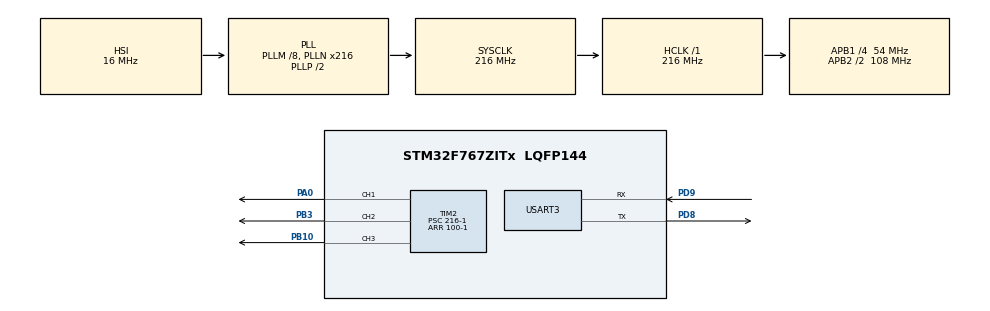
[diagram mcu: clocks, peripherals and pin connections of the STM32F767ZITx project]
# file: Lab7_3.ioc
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CORTEX_M7.default_mode_Activation=1
Mcu.Family=STM32F7
Mcu.Name=STM32F767ZITx
Mcu.Package=LQFP144
NVIC.PriorityGroup=NVIC_PRIORITYGROUP_4
PA0/WKUP.Signal=S_TIM2_CH1_ETR
PB10.Signal=S_TIM2_CH3
PB3.Signal=S_TIM2_CH2
PD8.Mode=Asynchronous
PD8.Signal=USART3_TX
PD9.Mode=Asynchronous
PD9.Signal=USART3_RX
ProjectManager.HeapSize=0x200
ProjectManager.StackSize=0x400
ProjectManager.TargetToolchain=STM32CubeIDE
RCC.AHBFreq_Value=216000000
RCC.APB1CLKDivider=RCC_HCLK_DIV4
RCC.APB1Freq_Value=54000000
RCC.APB1TimFreq_Value=108000000
RCC.APB2CLKDivider=RCC_HCLK_DIV2
RCC.APB2Freq_Value=108000000
RCC.APB2TimFreq_Value=216000000
RCC.CortexFreq_Value=216000000
RCC.HCLKFreq_Value=216000000
RCC.HSE_VALUE=25000000
RCC.HSI_VALUE=16000000
RCC.LSE_VALUE=32768
RCC.PLLM=8
RCC.PLLN=216
RCC.SYSCLKFreq_VALUE=216000000
RCC.SYSCLKSource=RCC_SYSCLKSOURCE_PLLCLK
RCC.USBFreq_Value=216000000
RCC.VCOOutputFreq_Value=432000000
SH.S_TIM2_CH1_ETR.0=TIM2_CH1,PWM Generation1 CH1
SH.S_TIM2_CH2.0=TIM2_CH2,PWM Generation2 CH2
SH.S_TIM2_CH3.0=TIM2_CH3,PWM Generation3 CH3
TIM2.AutoReloadPreload=TIM_AUTORELOAD_PRELOAD_DISABLE
TIM2.Channel-PWM\ Generation1\ CH1=TIM_CHANNEL_1
TIM2.Channel-PWM\ Generation2\ CH2=TIM_CHANNEL_2
TIM2.Channel-PWM\ Generation3\ CH3=TIM_CHANNEL_3
TIM2.Period=100-1
TIM2.Prescaler=216-1
USART3.VirtualMode-Asynchronous=VM_ASYNC
VP_TIM2_VS_ClockSourceINT.Mode=Internal
board=custom

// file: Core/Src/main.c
/* USER CODE BEGIN Header */
/**
  ******************************************************************************
  * @file           : main.c
  * @brief          : Main program body
  ******************************************************************************
  * @attention
  *
  * Copyright (c) 2026 STMicroelectronics.
  * All rights reserved.
  *
  * This software is licensed under terms that can be found in the LICENSE file
  * in the root directory of this software component.
  * If no LICENSE file comes with this software, it is provided AS-IS.
  *
  ******************************************************************************
  */
/* USER CODE END Header */
#include "main.h"

TIM_HandleTypeDef htim2;

UART_HandleTypeDef huart3;

/* USER CODE BEGIN PV */
uint8_t rx_data;       // เก็บค่าที่รับจาก UART
uint8_t duty_red = 0;  // เก็บค่า % (0-100)
uint8_t duty_green = 0;
uint8_t duty_blue = 0;
/* USER CODE END PV */

void SystemClock_Config(void);
static void MPU_Config(void);
static void MX_GPIO_Init(void);
static void MX_TIM2_Init(void);
static void MX_USART3_UART_Init(void);

int main(void)
{

  /* MPU Configuration--------------------------------------------------------*/
  MPU_Config();

  /* MCU Configuration--------------------------------------------------------*/

  /* Reset of all peripherals, Initializes the Flash interface and the Systick. */
  HAL_Init();

  /* Configure the system clock */
  SystemClock_Config();

  /* Initialize all configured peripherals */
  MX_GPIO_Init();
  MX_TIM2_Init();
  MX_USART3_UART_Init();
  /* USER CODE BEGIN 2 */

  // เริ่มต้นสัญญาณ PWM
  HAL_TIM_PWM_Start(&htim2, TIM_CHANNEL_1);
  HAL_TIM_PWM_Start(&htim2, TIM_CHANNEL_2);
  HAL_TIM_PWM_Start(&htim2, TIM_CHANNEL_3);

  // กำหนดค่าเริ่มต้นเป็น 0 (ดับ)
  htim2.Instance->CCR1 = 0;
  htim2.Instance->CCR2 = 0;
  htim2.Instance->CCR3 = 0;

  /* USER CODE END 2 */

  /* Infinite loop */
  while (1)
  {

    /* USER CODE BEGIN 3 */

    // รับค่า UART
    if (HAL_UART_Receive(&huart3, &rx_data, 1, 100) == HAL_OK)
    {
        // --- RED ---
        if (rx_data == 'r')
        {
            if (duty_red >= 100) duty_red = 0;
            else duty_red += 20;

            // ไม่ต้องคูณ 100 แล้ว เพราะ ARR = 100
            htim2.Instance->CCR1 = duty_red;
        }
        // --- GREEN ---
        else if (rx_data == 'g')
        {
            if (duty_green >= 100) duty_green = 0;
            else duty_green += 20;

            htim2.Instance->CCR2 = duty_green;
        }
        // --- BLUE ---
        else if (rx_data == 'b')
        {
            if (duty_blue >= 100) duty_blue = 0;
            else duty_blue += 20;

            htim2.Instance->CCR3 = duty_blue;
        }
    }
  }
  /* USER CODE END 3 */
}

void SystemClock_Config(void)
{
  RCC_OscInitTypeDef RCC_OscInitStruct = {0};
  RCC_ClkInitTypeDef RCC_ClkInitStruct = {0};

  /** Configure the main internal regulator output voltage
  */
  __HAL_RCC_PWR_CLK_ENABLE();
  __HAL_PWR_VOLTAGESCALING_CONFIG(PWR_REGULATOR_VOLTAGE_SCALE1);

  /** Initializes the RCC Oscillators according to the specified parameters
  * in the RCC_OscInitTypeDef structure.
  */
  RCC_OscInitStruct.OscillatorType = RCC_OSCILLATORTYPE_HSI;
  RCC_OscInitStruct.HSIState = RCC_HSI_ON;
  RCC_OscInitStruct.HSICalibrationValue = RCC_HSICALIBRATION_DEFAULT;
  RCC_OscInitStruct.PLL.PLLState = RCC_PLL_ON;
  RCC_OscInitStruct.PLL.PLLSource = RCC_PLLSOURCE_HSI;
  RCC_OscInitStruct.PLL.PLLM = 8;
  RCC_OscInitStruct.PLL.PLLN = 216;
  RCC_OscInitStruct.PLL.PLLP = RCC_PLLP_DIV2;
  RCC_OscInitStruct.PLL.PLLQ = 2;
  RCC_OscInitStruct.PLL.PLLR = 2;
  if (HAL_RCC_OscConfig(&RCC_OscInitStruct) != HAL_OK)
  {
    Error_Handler();
  }

  /** Activate the Over-Drive mode
  */
  if (HAL_PWREx_EnableOverDrive() != HAL_OK)
  {
    Error_Handler();
  }

  /** Initializes the CPU, AHB and APB buses clocks
  */
  RCC_ClkInitStruct.ClockType = RCC_CLOCKTYPE_HCLK|RCC_CLOCKTYPE_SYSCLK
                              |RCC_CLOCKTYPE_PCLK1|RCC_CLOCKTYPE_PCLK2;
  RCC_ClkInitStruct.SYSCLKSource = RCC_SYSCLKSOURCE_PLLCLK;
  RCC_ClkInitStruct.AHBCLKDivider = RCC_SYSCLK_DIV1;
  RCC_ClkInitStruct.APB1CLKDivider = RCC_HCLK_DIV4;
  RCC_ClkInitStruct.APB2CLKDivider = RCC_HCLK_DIV2;

  if (HAL_RCC_ClockConfig(&RCC_ClkInitStruct, FLASH_LATENCY_7) != HAL_OK)
  {
    Error_Handler();
  }
}

static void MX_TIM2_Init(void)
{

  TIM_ClockConfigTypeDef sClockSourceConfig = {0};
  TIM_MasterConfigTypeDef sMasterConfig = {0};
  TIM_OC_InitTypeDef sConfigOC = {0};

  htim2.Instance = TIM2;
  htim2.Init.Prescaler = 216-1;
  htim2.Init.CounterMode = TIM_COUNTERMODE_UP;
  htim2.Init.Period = 100-1;
  htim2.Init.ClockDivision = TIM_CLOCKDIVISION_DIV1;
  htim2.Init.AutoReloadPreload = TIM_AUTORELOAD_PRELOAD_DISABLE;
  if (HAL_TIM_Base_Init(&htim2) != HAL_OK)
  {
    Error_Handler();
  }
  sClockSourceConfig.ClockSource = TIM_CLOCKSOURCE_INTERNAL;
  if (HAL_TIM_ConfigClockSource(&htim2, &sClockSourceConfig) != HAL_OK)
  {
    Error_Handler();
  }
  if (HAL_TIM_PWM_Init(&htim2) != HAL_OK)
  {
    Error_Handler();
  }
  sMasterConfig.MasterOutputTrigger = TIM_TRGO_RESET;
  sMasterConfig.MasterSlaveMode = TIM_MASTERSLAVEMODE_DISABLE;
  if (HAL_TIMEx_MasterConfigSynchronization(&htim2, &sMasterConfig) != HAL_OK)
  {
    Error_Handler();
  }
  sConfigOC.OCMode = TIM_OCMODE_PWM1;
  sConfigOC.Pulse = 0;
  sConfigOC.OCPolarity = TIM_OCPOLARITY_HIGH;
  sConfigOC.OCFastMode = TIM_OCFAST_DISABLE;
  if (HAL_TIM_PWM_ConfigChannel(&htim2, &sConfigOC, TIM_CHANNEL_1) != HAL_OK)
  {
    Error_Handler();
  }
  if (HAL_TIM_PWM_ConfigChannel(&htim2, &sConfigOC, TIM_CHANNEL_2) != HAL_OK)
  {
    Error_Handler();
  }
  if (HAL_TIM_PWM_ConfigChannel(&htim2, &sConfigOC, TIM_CHANNEL_3) != HAL_OK)
  {
    Error_Handler();
  }
  HAL_TIM_MspPostInit(&htim2);

}

static void MX_USART3_UART_Init(void)
{

  huart3.Instance = USART3;
  huart3.Init.BaudRate = 115200;
  huart3.Init.WordLength = UART_WORDLENGTH_8B;
  huart3.Init.StopBits = UART_STOPBITS_1;
  huart3.Init.Parity = UART_PARITY_NONE;
  huart3.Init.Mode = UART_MODE_TX_RX;
  huart3.Init.HwFlowCtl = UART_HWCONTROL_NONE;
  huart3.Init.OverSampling = UART_OVERSAMPLING_16;
  huart3.Init.OneBitSampling = UART_ONE_BIT_SAMPLE_DISABLE;
  huart3.AdvancedInit.AdvFeatureInit = UART_ADVFEATURE_NO_INIT;
  if (HAL_UART_Init(&huart3) != HAL_OK)
  {
    Error_Handler();
  }

}

static void MX_GPIO_Init(void)
{

  /* GPIO Ports Clock Enable */
  __HAL_RCC_GPIOA_CLK_ENABLE();
  __HAL_RCC_GPIOB_CLK_ENABLE();
  __HAL_RCC_GPIOD_CLK_ENABLE();

}

 /* MPU Configuration */

void MPU_Config(void)
{
  MPU_Region_InitTypeDef MPU_InitStruct = {0};

  /* Disables the MPU */
  HAL_MPU_Disable();

  /** Initializes and configures the Region and the memory to be protected
  */
  MPU_InitStruct.Enable = MPU_REGION_ENABLE;
  MPU_InitStruct.Number = MPU_REGION_NUMBER0;
  MPU_InitStruct.BaseAddress = 0x0;
  MPU_InitStruct.Size = MPU_REGION_SIZE_4GB;
  MPU_InitStruct.SubRegionDisable = 0x87;
  MPU_InitStruct.TypeExtField = MPU_TEX_LEVEL0;
  MPU_InitStruct.AccessPermission = MPU_REGION_NO_ACCESS;
  MPU_InitStruct.DisableExec = MPU_INSTRUCTION_ACCESS_DISABLE;
  MPU_InitStruct.IsShareable = MPU_ACCESS_SHAREABLE;
  MPU_InitStruct.IsCacheable = MPU_ACCESS_NOT_CACHEABLE;
  MPU_InitStruct.IsBufferable = MPU_ACCESS_NOT_BUFFERABLE;

  HAL_MPU_ConfigRegion(&MPU_InitStruct);
  /* Enables the MPU */
  HAL_MPU_Enable(MPU_PRIVILEGED_DEFAULT);

}

void Error_Handler(void)
{
  __disable_irq();
  while (1)
  {
  }
}
